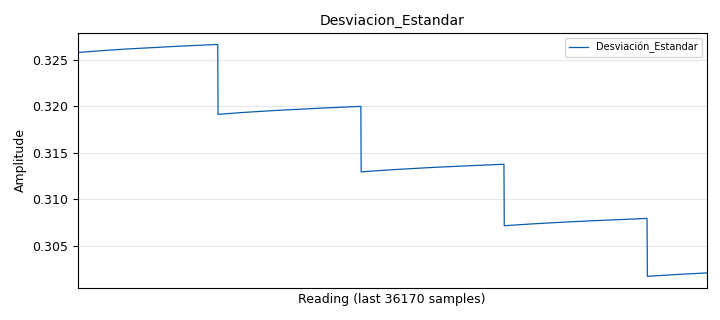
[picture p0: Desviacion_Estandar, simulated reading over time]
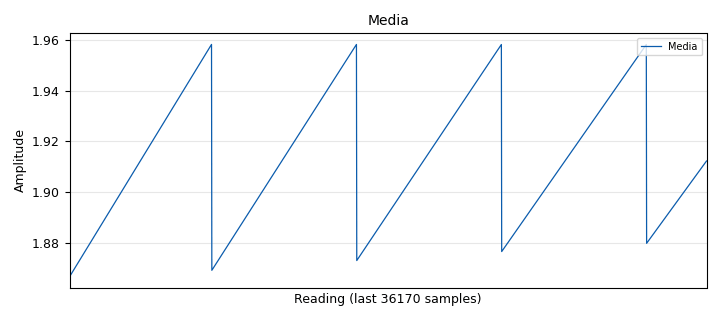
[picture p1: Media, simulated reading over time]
options:
  parameters:
    author: Jeanpaull Valencia
    generate_options: qt_gui
    id: Promedio
    output_language: python
    title: Practica_0
  states: {}

blocks:
- name: samp_rate
  id: variable
  parameters:
    value: '32000'
  states: {}
- name: Desviacion_Estandar
  id: qtgui_number_sink
  parameters:
    graph_type: qtgui.NUM_GRAPH_HORIZ
    label1: Desviación_Estandar
    max: '2'
    min: '-2'
    type: float
  states: {}
- name: Media
  id: qtgui_number_sink
  parameters:
    graph_type: qtgui.NUM_GRAPH_HORIZ
    label1: Media
    max: '2'
    min: '-2'
    type: float
  states: {}
- name: Media_Cuadratica
  id: qtgui_number_sink
  parameters:
    graph_type: qtgui.NUM_GRAPH_HORIZ
    label1: Media_Cuadratica
    max: '4'
    min: '-4'
    type: float
  states: {}
- name: Potencia_Promedio
  id: qtgui_number_sink
  parameters:
    graph_type: qtgui.NUM_GRAPH_HORIZ
    label1: Potencia promedio
    max: '4'
    min: '-4'
    type: float
  states: {}
- name: RMS
  id: qtgui_number_sink
  parameters:
    graph_type: qtgui.NUM_GRAPH_HORIZ
    label1: RMS
    max: '2'
    min: '-2'
    type: float
  states: {}
- name: blocks_vector_source_x_0
  id: blocks_vector_source_x
  parameters:
    repeat: 'True'
    type: float
    vector: (1.96,1.98,1.88,1.85,2.01,1.96,1.98,1.99,2.13,1.75,2.05)
  states: {}
- name: epy_block_0
  id: epy_block
  parameters:
    _source_code: "\"\"\"\nEjercicio: Bloque para hallar promedios\n\"\"\"\n\nimport numpy as np\nfrom gnuradio import gr\n\n\nclass blk(gr.basic_block):\n\n    def __init__(self):  # only default arguments here\n        gr.sync_block.__init__(\n            self,\n            name='Promedios de tiempos',   # will show up in GRC\n            in_sig=[np.float32],\n            out_sig=[np.float32,np.float32,np.float32,np.float32,np.float32]\n            )\n            \n            # Se definen las entradas y salidas del bloque (GUI)\n        \n        # Básicamente acá se definen variables de operación para \n        # reinicializar\n        \n        self.acum_anterior = 0 \n        self.Ntotales = 0\n        self.acum_anterior1 = 0\n        self.acum_anterior2 = 0\n\n    def work(self, input_items, output_items):\n    \n    # Se definen las entradas y salidas funcionales\n    \n        x = input_items[0] # Señal de entrada\n        y0 = output_items[0] # Promedio de la entrada\n        y1 = output_items[1] # Media de la señal\n        y2 = output_items[2] # RMS de la señal\n        y3 = output_items[3] # Potencia promedio de la señal\n        y4 = output_items[4] # Desviación estandar de la señal\n        \n        # Calculo del promedio\n        N = len(x)\n        self.Ntotales = self.Ntotales + N\n        acumulado = self.acum_anterior + np.cumsum(x)\n        self.acum_anterior = acumulado[N-1]\n        y0[:] = acumulado/self.Ntotales\n        \n        # Calculo de la media cuadratica\n       \tx2 = np.multiply(x,x)\n       \tacumulado1 = self.acum_anterior1 + np.cumsum(x2)\n       \tself.acum_anterior1 = acumulado1[N-1]\n       \ty1[:] = acumulado1/self.Ntotales\n       \t\n       \t# Calculo de la RMS\n       \ty2[:] = np.sqrt(y1)\n       \t\n       \t# Calculo de la potencia promedio\n       \ty3[:] = np.multiply(y2,y2)\n       \t\n       \t# Calculo de la desviación estandar\n       \tx3 = np.multiply(x-y0,x-y0)\n       \tacumulado2 = self.acum_anterior2 + np.cumsum(x3)\n       \tself.acum_anterior2 = acumulado2[N-1]    \t\n       \ty4[:] = np.sqrt(acumulado2/self.Ntotales) \n       \t\n       \treturn len(x)\n      \n"
  states: {}

connections:
- [blocks_vector_source_x_0, '0', epy_block_0, '0']
- [epy_block_0, '0', Media, '0']
- [epy_block_0, '1', Media_Cuadratica, '0']
- [epy_block_0, '2', RMS, '0']
- [epy_block_0, '3', Potencia_Promedio, '0']
- [epy_block_0, '4', Desviacion_Estandar, '0']

metadata:
  file_format: 1
